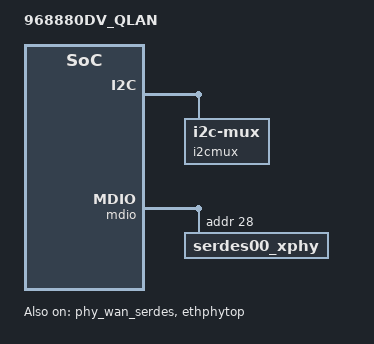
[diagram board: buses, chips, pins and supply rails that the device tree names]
#include "inc/968880DV_common.dtsi"

/ {
        model = "968880DV_QLAN";

        xfp_sfp: xfp_sfp {
                status = "okay";
        };

        wan_serdes {
                trx = <&xfp_sfp>;
        };

        i2cmux {
                status = "okay";

                i2c0mux1: i2c@1 {
                    status = "okay";
                };

                i2c0mux2: i2c@2 {
                    status = "okay";
                };
        };
};

&led_ctrl {
    led2: serial-port_slan0-led_1 {
        active_low;
        crossbar-output = <1>;
        activity = <(LED_SPEED_100|LED_SPEED_1G|LED_SPEED_2500|LED_SPEED_10G)>;
        status = "okay";
    };

    led3: serial-port_slan0-led_0 {
        active_low;
        crossbar-output = <3>;
        link = <(LED_SPEED_100|LED_SPEED_1G|LED_SPEED_2500|LED_SPEED_10G)>;
        status = "okay";
    };

    led4: serial-port_qlan0-led_1 {
        active_low;
        crossbar-output = <14>;
        activity = <(LED_SPEED_100|LED_SPEED_1G|LED_SPEED_2500|LED_SPEED_10G)>;
        status = "okay";
    };

    led5: serial-port_qlan0-led_0 {
        active_low;
        crossbar-output = <0>;
        link = <(LED_SPEED_100|LED_SPEED_1G|LED_SPEED_2500|LED_SPEED_10G)>;
        status = "okay";
    };

    led6: serial-port_qlan1-led_1 {
        active_low;
        crossbar-output = <12>;
        activity = <(LED_SPEED_100|LED_SPEED_1G|LED_SPEED_2500|LED_SPEED_10G)>;
        status = "okay";
    };

    led7: serial-port_qlan1-led_0 {
        active_low;
        crossbar-output = <13>;
        link = <(LED_SPEED_100|LED_SPEED_1G|LED_SPEED_2500|LED_SPEED_10G)>;
        status = "okay";
    };

    led8: serial-port_qlan2-led_1 {
        active_low;
        crossbar-output = <11>;
        activity = <(LED_SPEED_100|LED_SPEED_1G|LED_SPEED_2500|LED_SPEED_10G)>;
        status = "okay";
    };

    led9: serial-port_qlan2-led_0 {
        active_low;
        crossbar-output = <15>;
        link = <(LED_SPEED_100|LED_SPEED_1G|LED_SPEED_2500|LED_SPEED_10G)>;
        status = "okay";
    };

    led10: sw_serial_led_19 {
        active_low;
        crossbar-output = <9>;
        status = "okay";
    };

    led11: sw_serial_led_18 {
        active_low;
        crossbar-output = <10>;
        status = "okay";
    };
};

&phy_wan_serdes {
    status = "okay";
};

&ethphytop {
    status = "okay";
    xphy0-enabled;
    xphy1-enabled;
};

&mdio {
    egphy0 {
        status = "okay";
    };
    serdes00_xphy {
        reg = <0x1c>;
        enet-phy-lane-swap;
        USXGMII-S;
        status = "okay";
    };
    serdes00 {
        status = "okay";
        phy-handle = <&serdes00_xphy>;
    };
    serdes10_xphy {
        enet-phy-lane-swap;
        USXGMII-S;
        status = "okay";
    };
    serdes10 {
        status = "okay";
        phy-handle = <&serdes10_xphy>;
    };
    serdes11_xphy {
        enet-phy-lane-swap;
        USXGMII-S;
        status = "okay";
    };
    serdes11 {
        status = "okay";
        phy-handle = <&serdes11_xphy>;
    };
    serdes12_xphy {
        enet-phy-lane-swap;
        USXGMII-S;
        status = "okay";
    };
    serdes12 {
        phy-handle = <&serdes12_xphy>;
        status = "okay";
    };
};

&switch0 {
    pinctrl-0 = <&a_eth_mdc_pin_59 &a_eth_mdio_pin_60>;

    ports {
        port_gphy0 {
            status = "okay";
            network-leds = <&led0 &led1>;
        };
        port_slan0 {
            status = "okay";
            network-leds = <&led2 &led3>;
        };
        port_qlan0 {
            status = "okay";
            network-leds = <&led4 &led5>;
        };
        port_qlan1 {
            status = "okay";
            network-leds = <&led6 &led7>;
        };
        port_qlan2 {
            status = "okay";
            network-leds = <&led8 &led9>;
        };
        port_wan@fiber {
            status = "okay";
        };
    };
};
